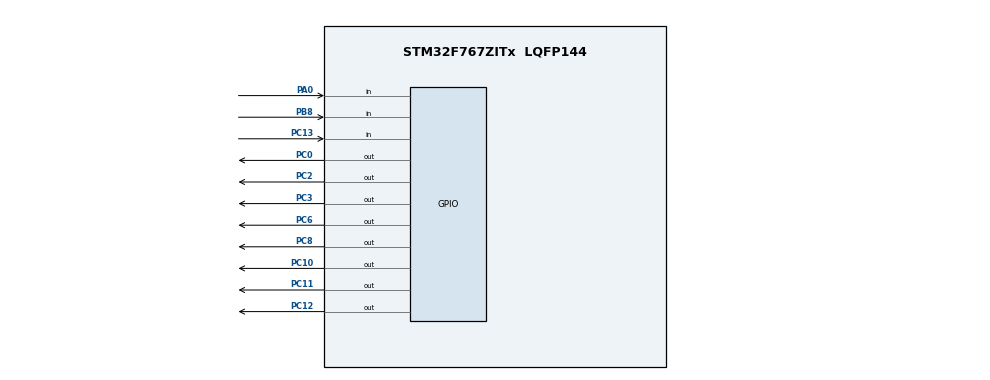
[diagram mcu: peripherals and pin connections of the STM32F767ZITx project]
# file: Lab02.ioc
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Mcu.Family=STM32F7
Mcu.Name=STM32F767ZITx
Mcu.Package=LQFP144
NVIC.PriorityGroup=NVIC_PRIORITYGROUP_4
PA0/WKUP.GPIO_PuPd=GPIO_PULLUP
PA0/WKUP.Signal=GPIO_Input
PB8.GPIO_PuPd=GPIO_PULLUP
PB8.Signal=GPIO_Input
PC0.Signal=GPIO_Output
PC10.Signal=GPIO_Output
PC11.Signal=GPIO_Output
PC12.Signal=GPIO_Output
PC13.GPIO_PuPd=GPIO_PULLDOWN
PC13.Signal=GPIO_Input
PC2.GPIO_PuPd=GPIO_NOPULL
PC2.Signal=GPIO_Output
PC3.GPIO_PuPd=GPIO_NOPULL
PC3.Signal=GPIO_Output
PC6.Signal=GPIO_Output
PC8.Signal=GPIO_Output
ProjectManager.HeapSize=0x200
ProjectManager.StackSize=0x400
ProjectManager.TargetToolchain=STM32CubeIDE
RCC.HSE_VALUE=25000000
RCC.HSI_VALUE=16000000
RCC.LSE_VALUE=32768
RCC.USBFreq_Value=96000000
RCC.VCOOutputFreq_Value=192000000
board=custom

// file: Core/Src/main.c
/* USER CODE BEGIN Header */
/**
  ******************************************************************************
  * @file           : main.c
  * @brief          : Main program body
  ******************************************************************************
  * @attention
  *
  * Copyright (c) 2023 STMicroelectronics.
  * All rights reserved.
  *
  * This software is licensed under terms that can be found in the LICENSE file
  * in the root directory of this software component.
  * If no LICENSE file comes with this software, it is provided AS-IS.
  *
  ******************************************************************************
  */
/* USER CODE END Header */
#include "main.h"
#include "gpio.h"

void SystemClock_Config(void);

/* USER CODE BEGIN 0 */
int currentLED = -1;
int pins[8] = {
	GPIO_PIN_0,
	GPIO_PIN_2,
	GPIO_PIN_3,
	GPIO_PIN_10,
	GPIO_PIN_11,
	GPIO_PIN_12,
	GPIO_PIN_6,
	GPIO_PIN_8
};
void Blink(){

	if(currentLED== -1){

		return;
	}

	HAL_GPIO_WritePin(GPIOC,pins[currentLED],GPIO_PIN_SET);
	HAL_Delay(500);
}
void MoveUp(){
	if(currentLED!= -1){
		HAL_GPIO_WritePin(GPIOC,pins[currentLED],GPIO_PIN_RESET);
	}
	currentLED = (currentLED+1)%8;
	HAL_GPIO_WritePin(GPIOC,pins[currentLED],GPIO_PIN_SET);
	HAL_Delay(500);
}
void MoveDown(){
	if(currentLED!= -1){
	HAL_GPIO_WritePin(GPIOC,pins[currentLED],GPIO_PIN_RESET);
	}
	currentLED = (currentLED == -1)?7:(currentLED-1);
	Blink();
}
/* USER CODE END 0 */

int main(void)
{

  /* MCU Configuration--------------------------------------------------------*/

  /* Reset of all peripherals, Initializes the Flash interface and the Systick. */
  HAL_Init();

  /* Configure the system clock */
  SystemClock_Config();

  /* Initialize all configured peripherals */
  MX_GPIO_Init();

  /* Infinite loop */
  while (1)
  {

    /* USER CODE BEGIN 3 */
	  if (HAL_GPIO_ReadPin(GPIOC, GPIO_PIN_13) == GPIO_PIN_SET) {
	  		  MoveUp();

	  }
	  if (HAL_GPIO_ReadPin(GPIOB, GPIO_PIN_8) == GPIO_PIN_RESET) {
		  MoveUp();
	  }
	  if (HAL_GPIO_ReadPin(GPIOA, GPIO_PIN_0) == GPIO_PIN_RESET) {
		  for(int i=0;i<9;i++){
			  MoveDown();
		  }
	  }
  }
  /* USER CODE END 3 */
}

void SystemClock_Config(void)
{
  RCC_OscInitTypeDef RCC_OscInitStruct = {0};
  RCC_ClkInitTypeDef RCC_ClkInitStruct = {0};

  /** Configure the main internal regulator output voltage
  */
  __HAL_RCC_PWR_CLK_ENABLE();
  __HAL_PWR_VOLTAGESCALING_CONFIG(PWR_REGULATOR_VOLTAGE_SCALE3);

  /** Initializes the RCC Oscillators according to the specified parameters
  * in the RCC_OscInitTypeDef structure.
  */
  RCC_OscInitStruct.OscillatorType = RCC_OSCILLATORTYPE_HSI;
  RCC_OscInitStruct.HSIState = RCC_HSI_ON;
  RCC_OscInitStruct.HSICalibrationValue = RCC_HSICALIBRATION_DEFAULT;
  RCC_OscInitStruct.PLL.PLLState = RCC_PLL_NONE;
  if (HAL_RCC_OscConfig(&RCC_OscInitStruct) != HAL_OK)
  {
    Error_Handler();
  }

  /** Initializes the CPU, AHB and APB buses clocks
  */
  RCC_ClkInitStruct.ClockType = RCC_CLOCKTYPE_HCLK|RCC_CLOCKTYPE_SYSCLK
                              |RCC_CLOCKTYPE_PCLK1|RCC_CLOCKTYPE_PCLK2;
  RCC_ClkInitStruct.SYSCLKSource = RCC_SYSCLKSOURCE_HSI;
  RCC_ClkInitStruct.AHBCLKDivider = RCC_SYSCLK_DIV1;
  RCC_ClkInitStruct.APB1CLKDivider = RCC_HCLK_DIV1;
  RCC_ClkInitStruct.APB2CLKDivider = RCC_HCLK_DIV1;

  if (HAL_RCC_ClockConfig(&RCC_ClkInitStruct, FLASH_LATENCY_0) != HAL_OK)
  {
    Error_Handler();
  }
}

void Error_Handler(void)
{
  __disable_irq();
  while (1)
  {
  }
}
